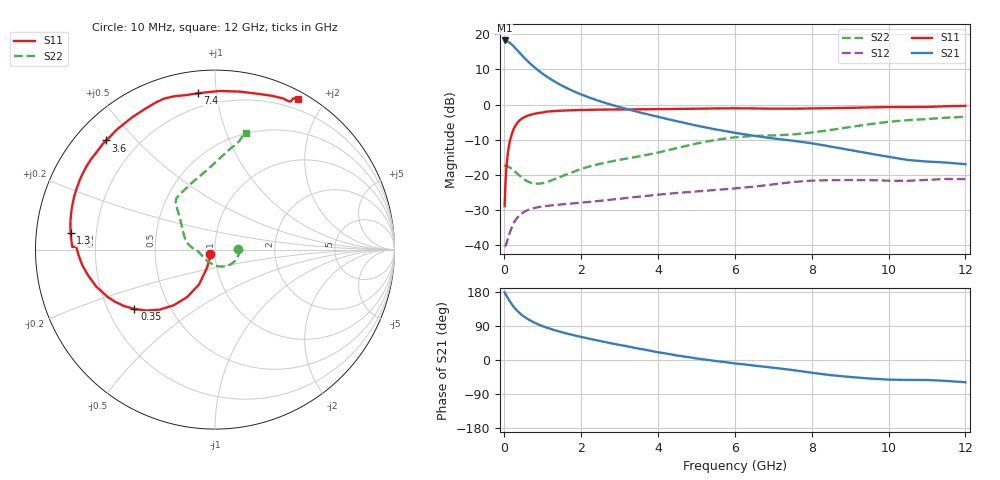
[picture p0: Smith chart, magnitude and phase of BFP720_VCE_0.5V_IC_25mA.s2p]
! Infineon Technologies  Discrete & RF Semiconductors
! BFP720
! VCE =  0.5 V,  IC =  25 mA
! Common Emitter S-Parameters:  Aug 2012
# GHz  S  MA  R  50
!  f  S11  S21  S12  S22
! GHz  MAG  ANG  MAG  ANG  MAG  ANG  MAG  ANG
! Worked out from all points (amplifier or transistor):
!   105 points, 10 MHz to 12 GHz, reference 50 ohm
!   highest |S21| = 18.3 dB at 10 MHz (marker M1)
!   |S21| within 3 dB of that: start of sweep to 357.8 MHz
!   unconditionally stable (mu >= 1): start of sweep to end of sweep
!   at 300 MHz: K = 2.54, MAG = 17.5 dB, |S12| = -32.7 dB
!   at 3.6 GHz: K = 3.45, MAG = 3.5 dB, |S12| = -26.1 dB
!   at 12 GHz: K = 2.24, MAG = -4.2 dB, |S12| = -21.2 dB
!   S11 on the Smith chart (normalised r, x): 10 MHz: 0.95, -0.05; 350 MHz: 0.31, -0.30; 1.3 GHz: 0.11, +0.06; 3.6 GHz: 0.09, +0.41; 7.4 GHz: 0.12, +0.89; 12 GHz: 0.08, +1.69
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0.01  0.036 -138.2  8.179 178.6  0.0097 6.5  0.1302 1.7
0.06  0.1321 -114.0  8.039 169.4  0.0107 22.4  0.1343 -12.2
0.1  0.214 -114.6  7.864 162.4  0.0127 31.0  0.1321 -21.0
0.15  0.3067 -120.4  7.533 154.2  0.0154 36.0  0.1271 -31.2
0.2  0.3866 -126.6  7.133 146.8  0.0182 37.9  0.1214 -40.9
0.25  0.4556 -132.7  6.699 140.1  0.0207 37.8  0.1153 -49.9
0.35  0.5575 -143.6  5.853 128.7  0.025 35.5  0.103 -66.7
0.5  0.6533 -156.1  4.776 115.6  0.0294 31.3  0.088 -89.1
0.6  0.693 -162.7  4.206 108.7  0.0314 28.9  0.0814 -102.9
0.7  0.7212 -168.4  3.735 102.9  0.0329 26.7  0.077 -115.4
1  0.7735 178.7  2.751 89.4  0.0356 22.8  0.0764 -146.8
1.3  0.8097 173.5  2.149 79.1  0.0372 20.9  0.0868 -166.7
1.7  0.8289 164.7  1.647 68.1  0.039 20.1  0.1053 180.0
2.1  0.8402 157.8  1.332 58.8  0.0408 20.2  0.1262 175.6
2.8  0.8532 147.1  0.991 43.7  0.0446 20.4  0.1561 167.2
3.6  0.8587 134.9  0.758 28.2  0.0497 19.5  0.1878 156.0
4.1  0.8644 127.3  0.652 18.9  0.0529 18.4  0.2141 147.8
6.1  0.8867 107.8  0.39 -10.0  0.065 12.5  0.346 129.1
7.4  0.8758 96.3  0.312 -25.3  0.078 6.3  0.374 117.0
8.5  0.891 81.1  0.253 -40.0  0.0841 -4.8  0.4365 97.4
10.5  0.9231 63.4  0.163 -52.6  0.0826 -16.7  0.6011 78.5
12  0.9599 61.1  0.142 -58.7  0.0872 -25.3  0.6728 74.9
